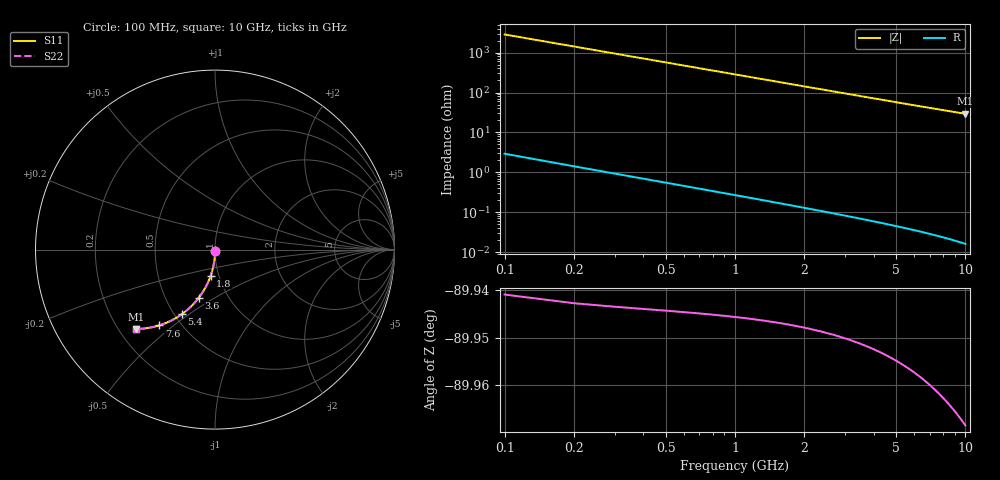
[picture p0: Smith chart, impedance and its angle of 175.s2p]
# Hz S RI R 50.00
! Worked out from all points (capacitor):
!   100 points, 100 MHz to 10 GHz, reference 50 ohm
!   read as one part in shunt: C = 560 fF near 100 MHz
!   lowest |Z| = 29.3 ohm at 10 GHz (marker M1)
!   S11 on the Smith chart (normalised r, x): 100 MHz: 1.00, -0.02; 1.8 GHz: 0.91, -0.27; 3.6 GHz: 0.73, -0.43; 5.4 GHz: 0.55, -0.47; 7.6 GHz: 0.38, -0.44; 10 GHz: 0.27, -0.39
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1e8  0.000475 -0.00827  0.9994 -0.00934  0.9994 -0.00934  0.000475 -0.00827
2e8  0.000238 -0.0165  0.9991 -0.0187  0.9991 -0.0187  0.000238 -0.0165
3e8  -0.000153 -0.0248  0.9987 -0.028  0.9987 -0.028  -0.000153 -0.0248
4e8  -0.000699 -0.033  0.9982 -0.0373  0.9982 -0.0373  -0.000699 -0.033
5e8  -0.0014 -0.0412  0.9974 -0.0466  0.9974 -0.0466  -0.0014 -0.0412
6e8  -0.00225 -0.0494  0.9966 -0.0559  0.9966 -0.0559  -0.00225 -0.0494
8e8  -0.00441 -0.0658  0.9944 -0.0744  0.9944 -0.0744  -0.00441 -0.0658
1.1e9  -0.00877 -0.09  0.99 -0.1018  0.99 -0.1018  -0.00877 -0.09
1.4e9  -0.0144 -0.1139  0.9843 -0.1289  0.9843 -0.1289  -0.0144 -0.1139
1.8e9  -0.024 -0.145  0.9746 -0.1643  0.9746 -0.1643  -0.024 -0.145
2.1e9  -0.0325 -0.1676  0.966 -0.1901  0.966 -0.1901  -0.0325 -0.1676
2.5e9  -0.0457 -0.1966  0.9527 -0.2234  0.9527 -0.2234  -0.0457 -0.1966
2.9e9  -0.0607 -0.2243  0.9376 -0.2554  0.9376 -0.2554  -0.0607 -0.2243
3.4e9  -0.0818 -0.2568  0.9163 -0.2933  0.9163 -0.2933  -0.0818 -0.2568
3.6e9  -0.0909 -0.269  0.9071 -0.3077  0.9071 -0.3077  -0.0909 -0.269
4.3e9  -0.1252 -0.3086  0.8725 -0.3548  0.8725 -0.3548  -0.1252 -0.3086
5.1e9  -0.168 -0.3471  0.8293 -0.402  0.8293 -0.402  -0.168 -0.3471
5.4e9  -0.1847 -0.3596  0.8123 -0.4178  0.8123 -0.4178  -0.1847 -0.3596
6.7e9  -0.2595 -0.4027  0.7366 -0.475  0.7366 -0.475  -0.2595 -0.4027
7.6e9  -0.3115 -0.4224  0.6838 -0.5046  0.6838 -0.5046  -0.3115 -0.4224
8.4e9  -0.3567 -0.4338  0.6378 -0.5248  0.6378 -0.5248  -0.3567 -0.4338
1e10  -0.4418 -0.442  0.5509 -0.5508  0.5509 -0.5508  -0.4418 -0.442
